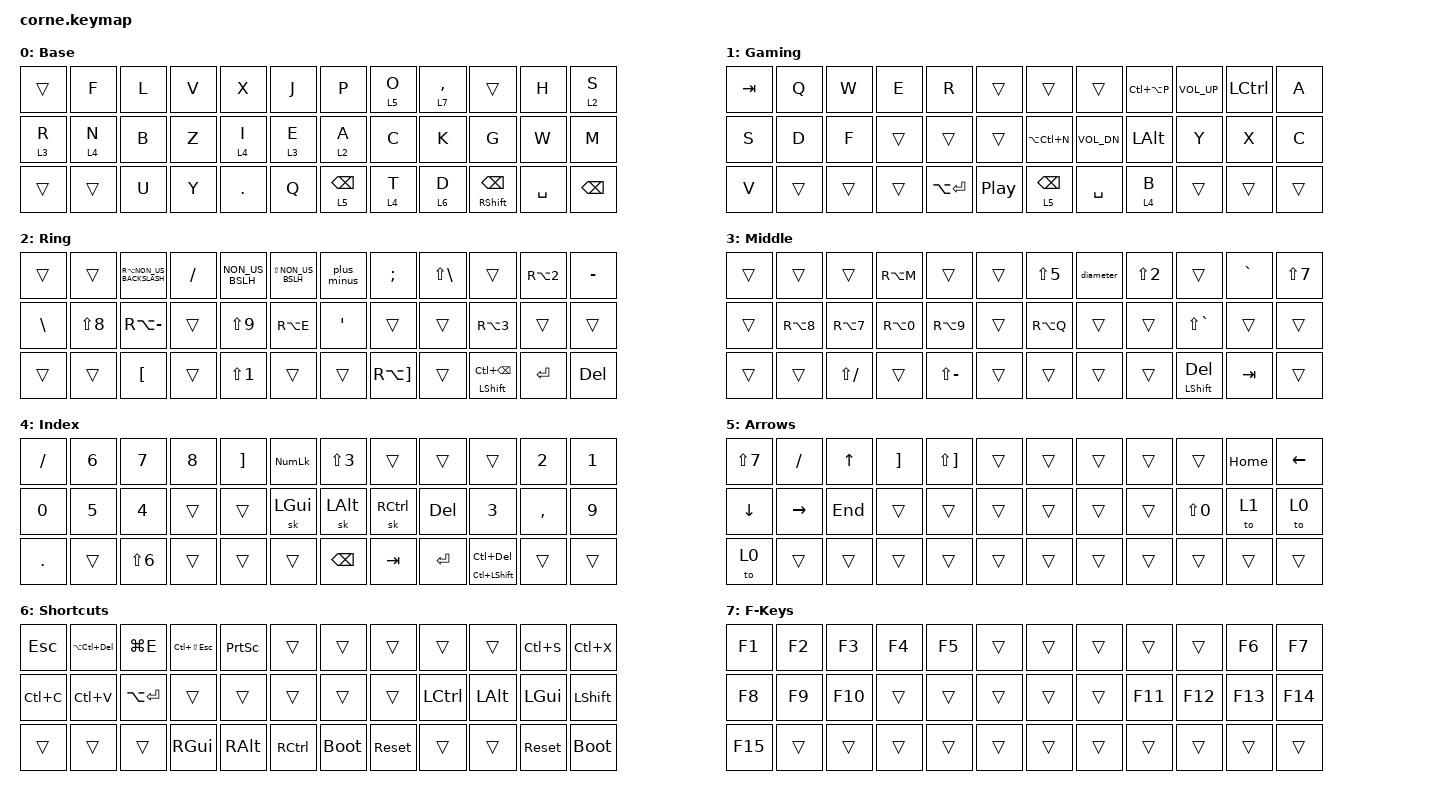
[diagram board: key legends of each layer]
/*
 * Copyright (c) 2020 The ZMK Contributors
 *
 * SPDX-License-Identifier: MIT
 */

#include <behaviors.dtsi>
#include <dt-bindings/zmk/keys.h>

/ {
    macros {
        plus_minus: plus_minus {
            compatible = "zmk,behavior-macro";
            #binding-cells = <0>;
            wait-ms = <30>;
            tap-ms = <30>;
            bindings =
                <&macro_press>,
                <&kp LALT>,
                <&macro_tap>,
                <&kp KP_N2 &kp KP_N4 &kp KP_N1>,
                <&macro_release>,
                <&kp LALT>;
        };

        diameter: diameter {
            compatible = "zmk,behavior-macro";
            #binding-cells = <0>;
            wait-ms = <30>;
            tap-ms = <30>;
            bindings =
                <&macro_press>,
                <&kp LALT>,
                <&macro_tap>,
                <&kp KP_N2 &kp KP_N1 &kp KP_N6>,
                <&macro_release>,
                <&kp LALT>;

            label = "DIAMETER";
        };
    };
};

/ {
    chosen { zmk,matrix-transform = &five_column_transform; };

    keymap {
        compatible = "zmk,keymap";

        Base {
            display-name = "Base";
            bindings = <
&trans   &kp F    &kp L  &kp V  &kp X    &kp J      &kp P            &lt 5 O  &lt 7 COMMA  &trans                     &kp H      &lt 2 S
&lt 3 R  &lt 4 N  &kp B  &kp Z  &lt 4 I  &lt 3 E    &lt 2 A          &kp C    &kp K        &kp G                      &kp W      &kp M
&trans   &trans   &kp U  &kp Y  &kp DOT  &kp Q      &lt 5 BACKSPACE  &lt 4 T  &lt 6 D      &mt RIGHT_SHIFT BACKSPACE  &kp SPACE  &kp BACKSPACE
            >;
        };

        Gaming {
            display-name = "Gaming";
            bindings = <
&kp TAB  &kp Q   &kp W   &kp E   &kp R          &trans              &trans           &trans        &kp LC(LA(P))  &kp C_VOL_UP  &kp LCTRL  &kp A
&kp S    &kp D   &kp F   &trans  &trans         &trans              &kp LA(LC(N))    &kp C_VOL_DN  &kp LEFT_ALT   &kp Y         &kp X      &kp C
&kp V    &trans  &trans  &trans  &kp LA(ENTER)  &kp C_PLAY_PAUSE    &lt 5 BACKSPACE  &kp SPACE     &lt 4 B        &trans        &trans     &trans
            >;
        };

        Ring {
            display-name = "Ring";
            bindings = <
&trans         &trans      &kp RA(NON_US_BACKSLASH)  &kp SLASH  &kp NON_US_BSLH   &kp LS(NON_US_BSLH)    &plus_minus       &kp SEMI               &kp LS(BACKSLASH)  &trans                        &kp RA(NUMBER_2)  &kp MINUS
&kp BACKSLASH  &kp LS(N8)  &kp RA(MINUS)             &trans     &kp LS(N9)        &kp RA(E)              &kp SINGLE_QUOTE  &trans                 &trans             &kp RA(NUMBER_3)              &trans            &trans
&trans         &trans      &kp LEFT_BRACKET          &trans     &kp LS(NUMBER_1)  &trans                 &trans            &kp RA(RIGHT_BRACKET)  &trans             &mt LEFT_SHIFT LC(BACKSPACE)  &kp ENTER         &kp DEL
            >;
        };

        Middle {
            display-name = "Middle";
            bindings = <
&trans  &trans      &trans         &kp RA(M)   &trans         &trans    &kp LS(N5)  &diameter  &kp LS(NUMBER_2)  &trans                 &kp GRAVE  &kp LS(N7)
&trans  &kp RA(N8)  &kp RA(N7)     &kp RA(N0)  &kp RA(N9)     &trans    &kp RA(Q)   &trans     &trans            &kp LS(GRAVE)          &trans     &trans
&trans  &trans      &kp LS(SLASH)  &trans      &kp LS(MINUS)  &trans    &trans      &trans     &trans            &mt LEFT_SHIFT DELETE  &kp TAB    &trans
            >;
        };

        Index {
            display-name = "Index";
            bindings = <
&kp SLASH   &kp N6  &kp N7            &kp N8  &kp RIGHT_BRACKET  &kp KP_NUMLOCK    &kp LS(NUMBER_3)  &trans     &trans     &trans                         &kp N2     &kp N1
&kp N0      &kp N5  &kp N4            &trans  &trans             &sk LEFT_GUI      &sk LEFT_ALT      &sk RCTRL  &kp DEL    &kp NUMBER_3                   &kp COMMA  &kp N9
&kp PERIOD  &trans  &kp LS(NUMBER_6)  &trans  &trans             &trans            &kp BACKSPACE     &kp TAB    &kp ENTER  &mt LC(LEFT_SHIFT) LC(DELETE)  &trans     &trans
            >;
        };

        arrows {
            display-name = "Arrows";
            bindings = <
&kp LS(N7)  &kp SLASH  &kp UP   &kp RIGHT_BRACKET  &kp LS(RIGHT_BRACKET)  &trans    &trans  &trans  &trans  &trans            &kp HOME  &kp LEFT
&kp DOWN    &kp RIGHT  &kp END  &trans             &trans                 &trans    &trans  &trans  &trans  &kp LS(NUMBER_0)  &to 1     &to 0
&to 0       &trans     &trans   &trans             &trans                 &trans    &trans  &trans  &trans  &trans            &trans    &trans
            >;
        };

        shortcuts {
            display-name = "Shortcuts";
            bindings = <
&kp ESCAPE  &kp LA(LC(DELETE))  &kp LG(E)      &kp LC(LS(ESCAPE))  &kp PRINTSCREEN  &trans       &trans       &trans      &trans     &trans        &kp LC(S)     &kp LC(X)
&kp LC(C)   &kp LC(V)           &kp LA(ENTER)  &trans              &trans           &trans       &trans       &trans      &kp LCTRL  &kp LEFT_ALT  &kp LEFT_GUI  &kp LEFT_SHIFT
&trans      &trans              &trans         &kp RIGHT_GUI       &kp RIGHT_ALT    &kp RCTRL    &bootloader  &sys_reset  &trans     &trans        &sys_reset    &bootloader
            >;
        };

        f-keys {
            display-name = "F-Keys";
            bindings = <
&kp F1   &kp F2  &kp F3   &kp F4  &kp F5  &trans    &trans  &trans  &trans   &trans   &kp F6   &kp F7
&kp F8   &kp F9  &kp F10  &trans  &trans  &trans    &trans  &trans  &kp F11  &kp F12  &kp F13  &kp F14
&kp F15  &trans  &trans   &trans  &trans  &trans    &trans  &trans  &trans   &trans   &trans   &trans
            >;
        };
    };
};
